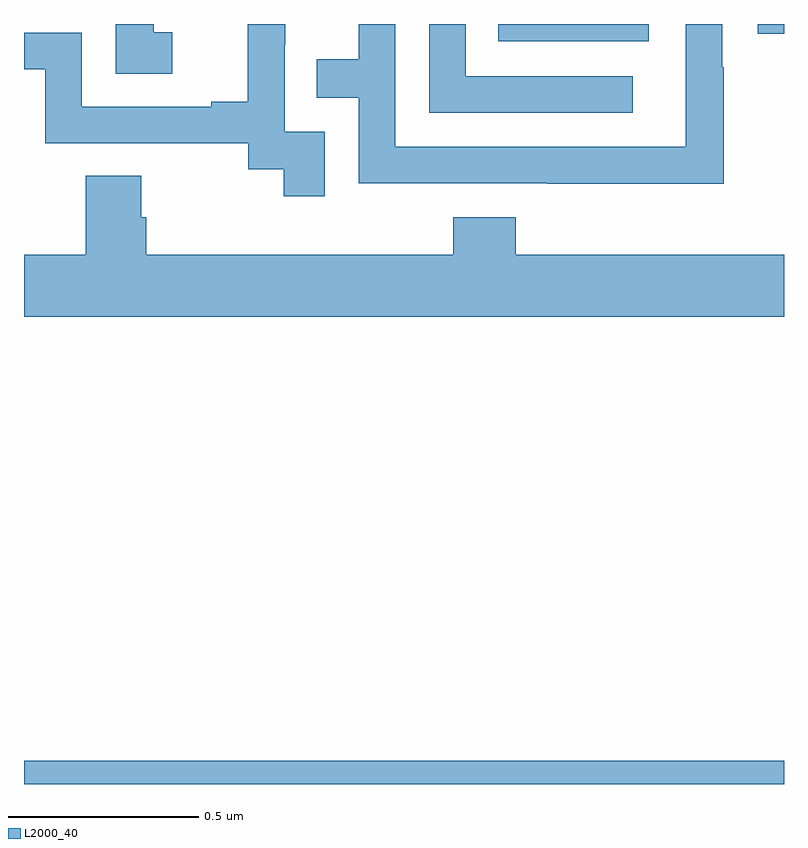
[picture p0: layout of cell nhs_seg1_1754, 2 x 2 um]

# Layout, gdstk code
import gdstk
lib = gdstk.Library(unit=1e-6, precision=1e-09)
def R(c, l, rs):  # rectangles x0, y0, x1, y1
    for r in rs: c.add(gdstk.rectangle(r[:2], r[2:], *l))
def P(c, l, *ps):  # polygons
    for p in ps: c.add(gdstk.Polygon(p, *l))
L2000_40 = (2000, 40)

nhs_seg1_1754 = lib.new_cell('nhs_seg1_1754')
R(nhs_seg1_1754, L2000_40, [(133,521.199,135,521.26), (134.248,523.154,134.644,523.199), (134.931,523.173,135,523.199)])
P(nhs_seg1_1754, L2000_40, [(134.841,523.085),(134.838,523.085),(134.838,523.199),(134.742,523.199),(134.742,523.13),(134.741,523.13),(134.741,522.876),(133.977,522.876),(133.977,523.199),(133.881,523.199),(133.881,523.106),(133.771,523.106),(133.771,523.005),(133.881,523.005),(133.881,522.78),(134.377,522.78),(134.377,522.779),(134.841,522.779)],
  [(133.791,522.915),(133.686,522.915),(133.686,523.145),(133.688,523.145),(133.688,523.199),(133.589,523.199),(133.589,522.994),(133.493,522.994),(133.493,522.981),(133.152,522.981),(133.152,523.176),(133,523.176),(133,523.08),(133.056,523.08),(133.056,522.885),(133.59,522.885),(133.59,522.817),(133.683,522.817),(133.683,522.746),(133.791,522.746)],
  [(133.39,523.177),(133.341,523.177),(133.341,523.199),(133.242,523.199),(133.242,523.068),(133.39,523.068)],
  [(134.602,523.062),(134.163,523.062),(134.163,523.199),(134.067,523.199),(134.067,522.966),(134.602,522.966)],
  [(135,522.592),(134.294,522.592),(134.294,522.691),(134.129,522.691),(134.129,522.592),(133.322,522.592),(133.322,522.69),(133.309,522.69),(133.309,522.8),(133.162,522.8),(133.162,522.592),(133,522.592),(133,522.428),(135,522.428)])

lib.write_gds('nhs_seg1_1754.gds')
